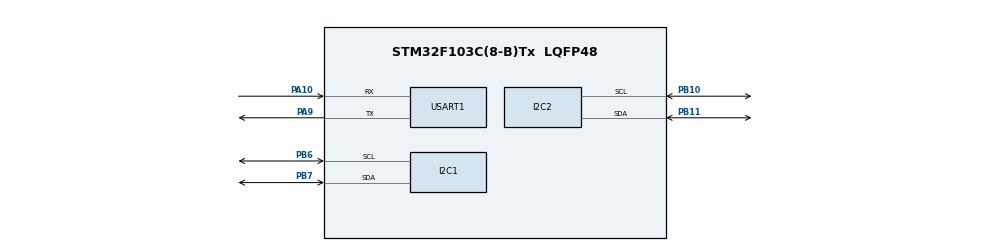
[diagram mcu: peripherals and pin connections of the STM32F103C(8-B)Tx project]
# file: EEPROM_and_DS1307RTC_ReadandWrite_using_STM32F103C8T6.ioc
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Mcu.Family=STM32F1
Mcu.Name=STM32F103C(8-B)Tx
Mcu.Package=LQFP48
NVIC.PriorityGroup=NVIC_PRIORITYGROUP_4
PA10.Mode=Asynchronous
PA10.Signal=USART1_RX
PA9.Mode=Asynchronous
PA9.Signal=USART1_TX
PB10.Mode=I2C
PB10.Signal=I2C2_SCL
PB11.Mode=I2C
PB11.Signal=I2C2_SDA
PB6.Mode=I2C
PB6.Signal=I2C1_SCL
PB7.Mode=I2C
PB7.Signal=I2C1_SDA
PD0-OSC_IN.Mode=HSE-External-Oscillator
PD0-OSC_IN.Signal=RCC_OSC_IN
PD1-OSC_OUT.Mode=HSE-External-Oscillator
PD1-OSC_OUT.Signal=RCC_OSC_OUT
ProjectManager.HeapSize=0x200
ProjectManager.StackSize=0x400
ProjectManager.TargetToolchain=STM32CubeIDE
RCC.APB1Freq_Value=8000000
RCC.APB2Freq_Value=8000000
USART1.VirtualMode=VM_ASYNC
VP_SYS_VS_ND.Mode=No_Debug
board=custom

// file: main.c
/* USER CODE END Header */
#include "main.h"

/* USER CODE BEGIN Includes */
#include <stdio.h>
#include <string.h>

#define EEPROM_ADDR          (0x50 << 1)  // EEPROM address
#define DS1307_ADDR          (0X68 << 1)  // RTC address

#define EEPROM_SIZE          4096
#define EEPROM_PAGE_SIZE     32
#define LOG_SIZE             (6 + sizeof(float)*2)

/* USER CODE END Includes */

I2C_HandleTypeDef hi2c1;
I2C_HandleTypeDef hi2c2;

UART_HandleTypeDef huart1;

void SystemClock_Config(void);
static void MX_GPIO_Init(void);
static void MX_I2C1_Init(void);
static void MX_USART1_UART_Init(void);
static void MX_I2C2_Init(void);

/* USER CODE BEGIN 0 */
void read_data_from_SHT31(float *temp, float *humi)
{
    uint8_t cmd[2] = {0x24, 0x00};
    uint8_t data[6];
    uint16_t raw_temp, raw_hum;

    HAL_I2C_Master_Transmit(&hi2c2, 0x88, cmd, 2, 100);
    HAL_Delay(20);

    HAL_I2C_Master_Receive(&hi2c2, 0x88, data, 6, 100);
    HAL_Delay(20);

    raw_temp = (data[0] << 8) | data[1];
    raw_hum  = (data[3] << 8) | data[4];

    *temp = -45.0 + (175.0 * raw_temp / 65535.0);
    *humi = 100.0 * raw_hum / 65535.0;
}

// Write EEPROM
void EEPROM_Write(uint16_t memAddress, uint8_t* data, uint16_t size)
{
    uint16_t bytes_to_write;
    uint16_t page_remaining;

    while (size > 0)
    {
        page_remaining = EEPROM_PAGE_SIZE - (memAddress % EEPROM_PAGE_SIZE);

        if (size < page_remaining)
            bytes_to_write = size;
        else
            bytes_to_write = page_remaining;

        HAL_I2C_Mem_Write(&hi2c1,
                          EEPROM_ADDR,
                          memAddress,
                          I2C_MEMADD_SIZE_16BIT,
                          data,
                          bytes_to_write,
                          100);

        HAL_Delay(5);

        memAddress += bytes_to_write;
        data += bytes_to_write;
        size -= bytes_to_write;
    }
}

// read fun from EEPROM
void EEPROM_Read(uint16_t memAddress, uint8_t* data, uint16_t size)
{
	HAL_I2C_Mem_Read(&hi2c1, EEPROM_ADDR, memAddress, I2C_MEMADD_SIZE_16BIT, data, size, 100);
}

// Save data to EEPROM
void save_log_to_eeprom(uint16_t address,
                        uint8_t hour, uint8_t min, uint8_t sec,
                        uint8_t date, uint8_t month, uint8_t year,
                        float temp, float hum)
{
    uint8_t buffer[LOG_SIZE];

    buffer[0] = hour;
    buffer[1] = min;
    buffer[2] = sec;
    buffer[3] = date;
    buffer[4] = month;
    buffer[5] = year;

    memcpy(&buffer[6], &temp, 4);
    memcpy(&buffer[10], &hum, 4);

    EEPROM_Write(address, buffer, LOG_SIZE);
}

// read data from the EEPROM
void read_log_from_eeprom(uint16_t address,
                         uint8_t *hour, uint8_t *min, uint8_t *sec,
                         uint8_t *date, uint8_t *month, uint8_t *year,
                         float *temp, float *hum)
{
    uint8_t buffer[LOG_SIZE];

    EEPROM_Read(address, buffer, LOG_SIZE);

    *hour  = buffer[0];
    *min   = buffer[1];
    *sec   = buffer[2];
    *date  = buffer[3];
    *month = buffer[4];
    *year  = buffer[5];

    memcpy(temp, &buffer[6], 4);
    memcpy(hum,  &buffer[10], 4);
}

// conversion
uint8_t dec_to_bcd(uint8_t val)
{
    return ((val / 10) << 4) | (val % 10);
}

uint8_t bcd_to_dec(uint8_t val)
{
    return ((val >> 4) * 10) + (val & 0x0F);
}

// set the credentials to RTC => DS13072
void DS13072_Set_Time(uint8_t sec, uint8_t min, uint8_t hour,
		              uint8_t day, uint8_t date, uint8_t month,
					  uint8_t year)
{
	uint8_t data[7] ;

	data[0] = dec_to_bcd(sec);
	data[0] &= 0X7F;              // clear CH bit (7th bit of sec register)
	data[1] = dec_to_bcd(min);
	data[2] = dec_to_bcd(hour);
	data[3] = dec_to_bcd(day);
	data[4] = dec_to_bcd(date);
	data[5] = dec_to_bcd(month);
	data[6] = dec_to_bcd(year);

	HAL_I2C_Mem_Write(&hi2c1, DS1307_ADDR, 0x00, I2C_MEMADD_SIZE_8BIT, data, 7, 100);
}

// read the credentials from the RTC
void DS1307_GetTime(uint8_t* sec, uint8_t* min, uint8_t* hour,
		            uint8_t* day, uint8_t* date, uint8_t* month,
					uint8_t* year)
{
	uint8_t data[7];

	HAL_I2C_Mem_Read(&hi2c1, DS1307_ADDR, 0x00, I2C_MEMADD_SIZE_8BIT, data, 7, 100);

	*sec = bcd_to_dec(data[0]);
	*min = bcd_to_dec(data[1]);
	*hour = bcd_to_dec(data[2]);
	*day = bcd_to_dec(data[3]);
	*date = bcd_to_dec(data[4]);
	*month = bcd_to_dec(data[5]);
	*year = bcd_to_dec(data[6]);
}

/* USER CODE END 0 */

int main(void)
{

  /* MCU Configuration--------------------------------------------------------*/

  /* Reset of all peripherals, Initializes the Flash interface and the Systick. */
  HAL_Init();

  /* Configure the system clock */
  SystemClock_Config();

  /* Initialize all configured peripherals */
  MX_GPIO_Init();
  MX_I2C1_Init();
  MX_USART1_UART_Init();
  MX_I2C2_Init();
  /* USER CODE BEGIN 2 */
    uint16_t eeprom_address = 0;
    float temperature, humidity;
    uint8_t sec, min, hour, day, date, month, year;
    /* ##################       Set once   ####################### */
    //DS13072_Set_Time(0, 26, 16, 22, 22, 4, 26); // Example
    char log[] = "System Started..!\r\n";
    HAL_UART_Transmit(&huart1, (uint8_t*)log, strlen(log), 1000);
  /* USER CODE END 2 */

  /* Infinite loop */
  /* USER CODE BEGIN WHILE */
  while (1)
  {
	  // 1. Read sensor
	  	      read_data_from_SHT31(&temperature, &humidity);

	  	      // 2. Read RTC
	  	      DS1307_GetTime(&sec, &min, &hour, &day, &date, &month, &year);

	  	      // 3. Save everything
	  	      save_log_to_eeprom(eeprom_address,
	  	                         hour, min, sec,
	  	                         date, month, year,
	  	                         temperature, humidity);

	  //	      HAL_Delay(1000);

	  	      // 4. Read back for verification
	  	      float t, h;
	  	      uint8_t r_sec, r_min, r_hour, r_date, r_month, r_year;

	  	      read_log_from_eeprom(eeprom_address,
	  	                           &r_hour, &r_min, &r_sec,
	  	                           &r_date, &r_month, &r_year,
	  	                           &t, &h);

	  	      // 5. Print log
	  	      char msg[120];
	  	      sprintf(msg,
	  	          "%02d:%02d:%02d %02d/%02d/20%02d -> Temp: %.2f C, Hum: %.2f %%\r\n",
	  	          r_hour, r_min, r_sec,
	  	          r_date, r_month, r_year,
	  	          t, h);

	  	      HAL_UART_Transmit(&huart1, (uint8_t*)msg, strlen(msg), 1000);

	  	      // 6. Next address
	  	      eeprom_address += LOG_SIZE;

	  	      if (eeprom_address >= 4096)
	  	          eeprom_address = 0;

	  	      HAL_Delay(10000);
    /* USER CODE END WHILE */

  }
}

void SystemClock_Config(void)
{
  RCC_OscInitTypeDef RCC_OscInitStruct = {0};
  RCC_ClkInitTypeDef RCC_ClkInitStruct = {0};

  /** Initializes the RCC Oscillators according to the specified parameters
  * in the RCC_OscInitTypeDef structure.
  */
  RCC_OscInitStruct.OscillatorType = RCC_OSCILLATORTYPE_HSI;
  RCC_OscInitStruct.HSIState = RCC_HSI_ON;
  RCC_OscInitStruct.HSICalibrationValue = RCC_HSICALIBRATION_DEFAULT;
  RCC_OscInitStruct.PLL.PLLState = RCC_PLL_NONE;
  if (HAL_RCC_OscConfig(&RCC_OscInitStruct) != HAL_OK)
  {
    Error_Handler();
  }

  /** Initializes the CPU, AHB and APB buses clocks
  */
  RCC_ClkInitStruct.ClockType = RCC_CLOCKTYPE_HCLK|RCC_CLOCKTYPE_SYSCLK
                              |RCC_CLOCKTYPE_PCLK1|RCC_CLOCKTYPE_PCLK2;
  RCC_ClkInitStruct.SYSCLKSource = RCC_SYSCLKSOURCE_HSI;
  RCC_ClkInitStruct.AHBCLKDivider = RCC_SYSCLK_DIV1;
  RCC_ClkInitStruct.APB1CLKDivider = RCC_HCLK_DIV1;
  RCC_ClkInitStruct.APB2CLKDivider = RCC_HCLK_DIV1;

  if (HAL_RCC_ClockConfig(&RCC_ClkInitStruct, FLASH_LATENCY_0) != HAL_OK)
  {
    Error_Handler();
  }
}

static void MX_I2C1_Init(void)
{

  hi2c1.Instance = I2C1;
  hi2c1.Init.ClockSpeed = 100000;
  hi2c1.Init.DutyCycle = I2C_DUTYCYCLE_2;
  hi2c1.Init.OwnAddress1 = 0;
  hi2c1.Init.AddressingMode = I2C_ADDRESSINGMODE_7BIT;
  hi2c1.Init.DualAddressMode = I2C_DUALADDRESS_DISABLE;
  hi2c1.Init.OwnAddress2 = 0;
  hi2c1.Init.GeneralCallMode = I2C_GENERALCALL_DISABLE;
  hi2c1.Init.NoStretchMode = I2C_NOSTRETCH_DISABLE;
  if (HAL_I2C_Init(&hi2c1) != HAL_OK)
  {
    Error_Handler();
  }

}

static void MX_I2C2_Init(void)
{

  hi2c2.Instance = I2C2;
  hi2c2.Init.ClockSpeed = 100000;
  hi2c2.Init.DutyCycle = I2C_DUTYCYCLE_2;
  hi2c2.Init.OwnAddress1 = 0;
  hi2c2.Init.AddressingMode = I2C_ADDRESSINGMODE_7BIT;
  hi2c2.Init.DualAddressMode = I2C_DUALADDRESS_DISABLE;
  hi2c2.Init.OwnAddress2 = 0;
  hi2c2.Init.GeneralCallMode = I2C_GENERALCALL_DISABLE;
  hi2c2.Init.NoStretchMode = I2C_NOSTRETCH_DISABLE;
  if (HAL_I2C_Init(&hi2c2) != HAL_OK)
  {
    Error_Handler();
  }

}

static void MX_USART1_UART_Init(void)
{

  huart1.Instance = USART1;
  huart1.Init.BaudRate = 115200;
  huart1.Init.WordLength = UART_WORDLENGTH_8B;
  huart1.Init.StopBits = UART_STOPBITS_1;
  huart1.Init.Parity = UART_PARITY_NONE;
  huart1.Init.Mode = UART_MODE_TX_RX;
  huart1.Init.HwFlowCtl = UART_HWCONTROL_NONE;
  huart1.Init.OverSampling = UART_OVERSAMPLING_16;
  if (HAL_UART_Init(&huart1) != HAL_OK)
  {
    Error_Handler();
  }

}

static void MX_GPIO_Init(void)
{

  /* GPIO Ports Clock Enable */
  __HAL_RCC_GPIOD_CLK_ENABLE();
  __HAL_RCC_GPIOB_CLK_ENABLE();
  __HAL_RCC_GPIOA_CLK_ENABLE();

}

void Error_Handler(void)
{
  __disable_irq();
  while (1)
  {
  }
}
